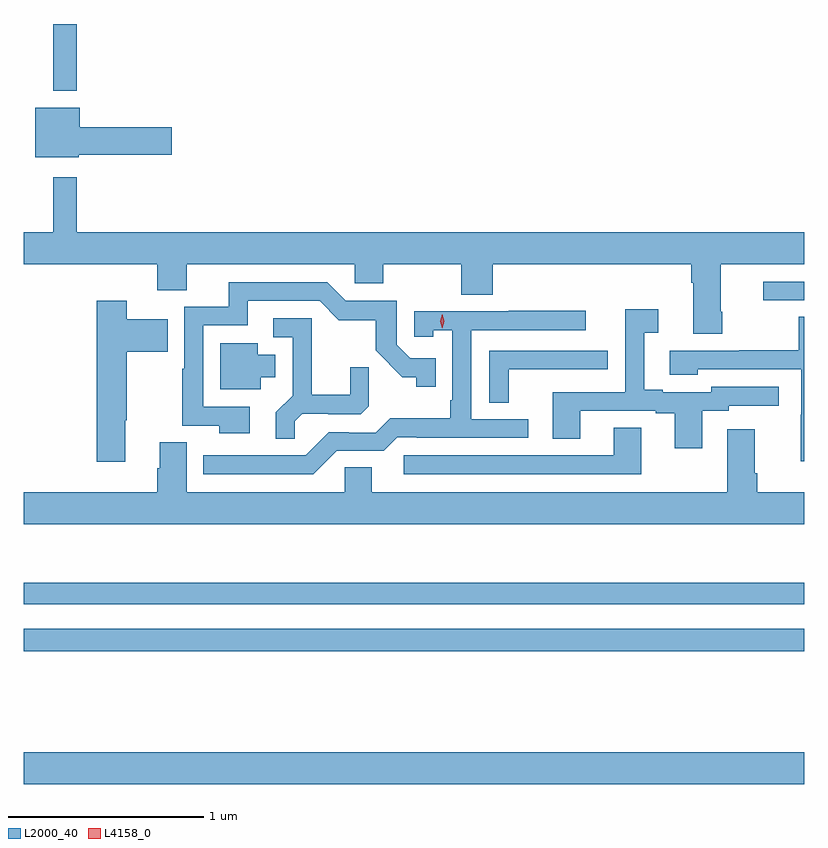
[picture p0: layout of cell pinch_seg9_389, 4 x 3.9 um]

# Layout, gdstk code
import gdstk
lib = gdstk.Library(unit=1e-6, precision=1e-09)
def R(c, l, rs):  # rectangles x0, y0, x1, y1
    for r in rs: c.add(gdstk.rectangle(r[:2], r[2:], *l))
def P(c, l, *ps):  # polygons
    for p in ps: c.add(gdstk.Polygon(p, *l))
L2000_40 = (2000, 40)
L4158_0 = (4158, 0)

pinch_seg9_389 = lib.new_cell('pinch_seg9_389')
R(pinch_seg9_389, L2000_40, [(348.569,1216.4,352.569,1216.564), (348.569,1217.08,352.569,1217.196), (348.569,1217.322,352.569,1217.431), (352.359,1218.879,352.569,1218.975), (348.719,1219.952,348.841,1220.295)])
P(pinch_seg9_389, L2000_40, [(348.852,1219.624),(349.327,1219.624),(349.327,1219.766),(348.856,1219.766),(348.856,1219.867),(348.629,1219.867),(348.629,1219.613),(348.852,1219.613)],
  [(352.149,1218.82),(352.141,1218.82),(352.141,1219.064),(352.569,1219.064),(352.569,1219.228),(348.841,1219.228),(348.841,1219.51),(348.719,1219.51),(348.719,1219.228),(348.569,1219.228),(348.569,1219.064),(349.253,1219.064),(349.253,1218.931),(349.405,1218.931),(349.405,1219.064),(350.265,1219.064),(350.265,1218.966),(350.412,1218.966),(350.412,1219.064),(350.812,1219.064),(350.812,1218.907),(350.972,1218.907),(350.972,1219.064),(351.989,1219.064),(351.989,1218.968),(352.001,1218.968),(352.001,1218.708),(352.149,1218.708)],
  [(349.726,1218.333),(349.488,1218.333),(349.488,1218.75),(349.717,1218.75),(349.717,1218.876),(350.085,1218.876),(350.184,1218.778),(350.373,1218.778),(350.373,1218.622),(350.51,1218.485),(350.58,1218.485),(350.58,1218.435),(350.681,1218.435),(350.681,1218.582),(350.55,1218.582),(350.481,1218.651),(350.481,1218.876),(350.22,1218.876),(350.124,1218.972),(349.619,1218.972),(349.619,1218.846),(349.392,1218.846),(349.392,1218.527),(349.38,1218.527),(349.38,1218.237),(349.57,1218.237),(349.57,1218.197),(349.726,1218.197)],
  [(349.09,1218.263),(349.098,1218.263),(349.098,1218.616),(349.307,1218.616),(349.307,1218.781),(349.098,1218.781),(349.098,1218.877),(348.944,1218.877),(348.944,1218.051),(349.09,1218.051)],
  [(352.045,1218.312),(352.182,1218.312),(352.182,1218.339),(352.438,1218.339),(352.438,1218.435),(352.092,1218.435),(352.092,1218.408),(351.844,1218.408),(351.844,1218.421),(351.748,1218.421),(351.748,1218.712),(351.82,1218.712),(351.82,1218.832),(351.651,1218.832),(351.651,1218.408),(351.281,1218.408),(351.281,1218.169),(351.421,1218.169),(351.421,1218.312),(351.809,1218.312),(351.809,1218.3),(351.905,1218.3),(351.905,1218.12),(352.045,1218.12)],
  [(350.172,1218.108),(350.415,1218.108),(350.484,1218.177),(350.584,1218.177),(350.584,1218.174),(351.154,1218.174),(351.154,1218.27),(350.862,1218.27),(350.862,1218.726),(351.448,1218.726),(351.448,1218.825),(351.055,1218.825),(351.055,1218.822),(350.571,1218.822),(350.571,1218.693),(350.667,1218.693),(350.667,1218.725),(350.766,1218.725),(350.766,1218.367),(350.754,1218.367),(350.754,1218.274),(350.446,1218.274),(350.373,1218.201),(350.234,1218.201),(350.234,1218.204),(350.133,1218.204),(350.013,1218.084),(349.49,1218.084),(349.49,1217.988),(350.052,1217.988)],
  [(352.569,1218.794),(352.542,1218.794),(352.542,1218.624),(352.237,1218.624),(352.237,1218.621),(351.879,1218.621),(351.879,1218.497),(352.023,1218.497),(352.023,1218.525),(352.554,1218.525),(352.554,1218.293),(352.552,1218.293),(352.552,1218.053),(352.569,1218.053)],
  [(349.959,1218.26),(349.996,1218.297),(350.13,1218.297),(350.13,1218.294),(350.295,1218.294),(350.336,1218.335),(350.336,1218.537),(350.242,1218.537),(350.242,1218.394),(350.045,1218.394),(350.045,1218.786),(349.848,1218.786),(349.848,1218.69),(349.947,1218.69),(349.947,1218.391),(349.861,1218.305),(349.861,1218.169),(349.959,1218.169)],
  [(349.783,1218.485),(349.858,1218.485),(349.858,1218.601),(349.768,1218.601),(349.768,1218.658),(349.577,1218.658),(349.577,1218.422),(349.783,1218.422)],
  [(351.054,1218.525),(351.449,1218.525),(351.449,1218.526),(351.562,1218.526),(351.562,1218.621),(350.955,1218.621),(350.955,1218.355),(351.054,1218.355)],
  [(351.733,1218.227),(351.593,1218.227),(351.593,1218.084),(350.517,1218.084),(350.517,1217.988),(351.733,1217.988)],
  [(352.569,1217.896),(352.328,1217.896),(352.328,1217.992),(352.315,1217.992),(352.315,1218.217),(352.175,1218.217),(352.175,1217.896),(350.353,1217.896),(350.353,1218.023),(350.214,1218.023),(350.214,1217.896),(349.405,1217.896),(349.405,1218.152),(349.265,1218.152),(349.265,1218.018),(349.253,1218.018),(349.253,1217.896),(348.569,1217.896),(348.569,1217.732),(352.569,1217.732)])
P(pinch_seg9_389, L4158_0, [(350.713,1218.735),(350.713,1218.735),(350.704,1218.771),(350.714,1218.807),(350.714,1218.807),(350.714,1218.807),(350.723,1218.771),(350.713,1218.735)])

lib.write_gds('pinch_seg9_389.gds')
